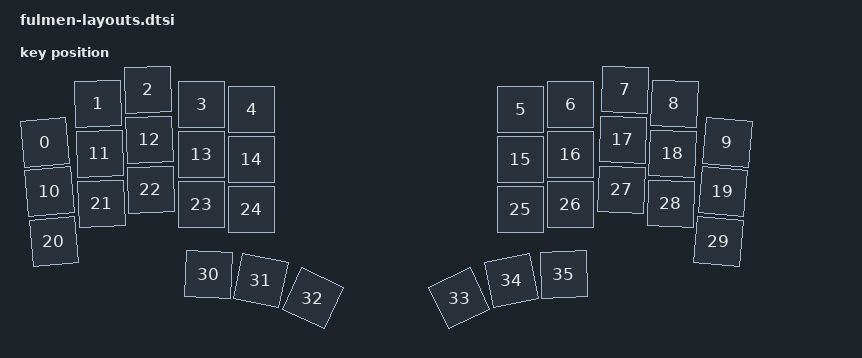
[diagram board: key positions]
#include <physical_layouts.dtsi>

/ {
    physical_layout_fulmen: physical_layout_fulmen {
        compatible = "zmk,physical-layout";
        display-name = "Fulmen";
        keys  //                     w   h    x    y     rot    rx    ry
            = <&key_physical_attrs 100 100    4  107  (-500)    54   157>
            , <&key_physical_attrs 100 100  110   30  (-200)   160    80>
            , <&key_physical_attrs 100 100  210    2  (-200)   260    52>
            , <&key_physical_attrs 100 100  318   31       0     0     0>
            , <&key_physical_attrs 100 100  418   41       0     0     0>
            , <&key_physical_attrs 100 100  956   41       0     0     0>
            , <&key_physical_attrs 100 100 1056   31       0     0     0>
            , <&key_physical_attrs 100 100 1164    2     200  1214    52>
            , <&key_physical_attrs 100 100 1263   30     200  1313    80>
            , <&key_physical_attrs 100 100 1369  107     500  1419   157>
            , <&key_physical_attrs 100 100   13  206  (-500)    63   256>
            , <&key_physical_attrs 100 100  114  130  (-200)   164   180>
            , <&key_physical_attrs 100 100  213  102  (-200)   263   152>
            , <&key_physical_attrs 100 100  318  131       0     0     0>
            , <&key_physical_attrs 100 100  418  141       0     0     0>
            , <&key_physical_attrs 100 100  956  141       0     0     0>
            , <&key_physical_attrs 100 100 1056  131       0     0     0>
            , <&key_physical_attrs 100 100 1160  102     200  1210   152>
            , <&key_physical_attrs 100 100 1259  130     200  1309   180>
            , <&key_physical_attrs 100 100 1360  206     500  1410   256>
            , <&key_physical_attrs 100 100   22  306  (-500)    72   356>
            , <&key_physical_attrs 100 100  117  230  (-200)   167   280>
            , <&key_physical_attrs 100 100  216  202  (-200)   266   252>
            , <&key_physical_attrs 100 100  318  231       0     0     0>
            , <&key_physical_attrs 100 100  418  241       0     0     0>
            , <&key_physical_attrs 100 100  956  241       0     0     0>
            , <&key_physical_attrs 100 100 1056  231       0     0     0>
            , <&key_physical_attrs 100 100 1157  202     200  1207   252>
            , <&key_physical_attrs 100 100 1256  230     200  1306   280>
            , <&key_physical_attrs 100 100 1351  306     500  1401   356>
            , <&key_physical_attrs 100 100  331  371     200   381   421>
            , <&key_physical_attrs 100 100  436  384    1150   486   434>
            , <&key_physical_attrs 100 100  540  419    2480   590   469>
            , <&key_physical_attrs 100 100  833  419 (-2480)   883   469>
            , <&key_physical_attrs 100 100  937  384 (-1150)   987   434>
            , <&key_physical_attrs 100 100 1042  371  (-200)  1092   421>
            ;
    };
};
